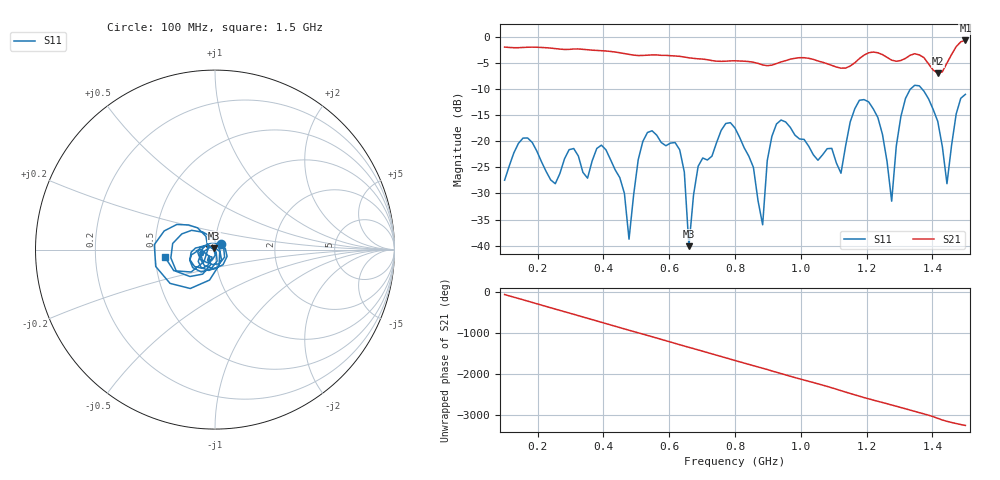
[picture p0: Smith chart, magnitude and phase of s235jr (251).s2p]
! NanoVNA-App
! Date: 2025-09-25 15:06:07
! Start: 100MHz Stop: 1,5GHz Points: 101
! S-Parameter data: F S11 S21 S12 S22
# Hz S RI R 50
!  Frequency  S11_Real  S11_Imag  S21_Real  S21_Imag  S12_Real  S12_Imag  S22_Real  S22_Imag
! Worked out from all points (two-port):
!   101 points, 100 MHz to 1.5 GHz, reference 50 ohm
!   highest |S21| = -0.70 dB at 1.5 GHz (marker M1); lowest = -7.0 dB at 1.416 GHz (marker M2)
!   |S21| within 3 dB of the highest: start of sweep to 623.2 MHz; 1.188 GHz to 1.256 GHz (67.71 MHz wide, 5.54 % of centre) (the widest 2 of 4)
!   lowest |S11| = -40.1 dB at 660 MHz (marker M3), VSWR 1.02, Z = 49.2 + j0.62 ohm
!   |S11| at or under -10 dB: start of sweep to 1.333 GHz; 1.368 GHz to end of sweep
!   S12 and S22 are empty: the file has one direction only
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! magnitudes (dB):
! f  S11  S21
! 100 MHz  -27.5  -2.0
! 156 MHz  -19.4  -2.0
! 338 MHz  -26.0  -2.4
! 408 MHz  -21.7  -2.7
! 478 MHz  -38.8  -3.4
! 520 MHz  -20.0  -3.6
! 576 MHz  -20.3  -3.5
! 632 MHz  -21.6  -3.7
! 660 MHz  -40.1  -4.0
! 688 MHz  -24.8  -4.2
! 800 MHz  -17.5  -4.6
! 884 MHz  -36.0  -5.4
! 898 MHz  -23.7  -5.5
! 926 MHz  -16.7  -5.1
! 1.038 GHz  -22.6  -4.3
! 1.122 GHz  -26.1  -6.0
! 1.206 GHz  -12.5  -3.1
! 1.276 GHz  -31.5  -4.5
! 1.332 GHz  -10.1  -3.5
! 1.416 GHz  -16.2  -7.0
! 1.444 GHz  -28.1  -5.0
! 1.5 GHz  -11.0  -0.7
